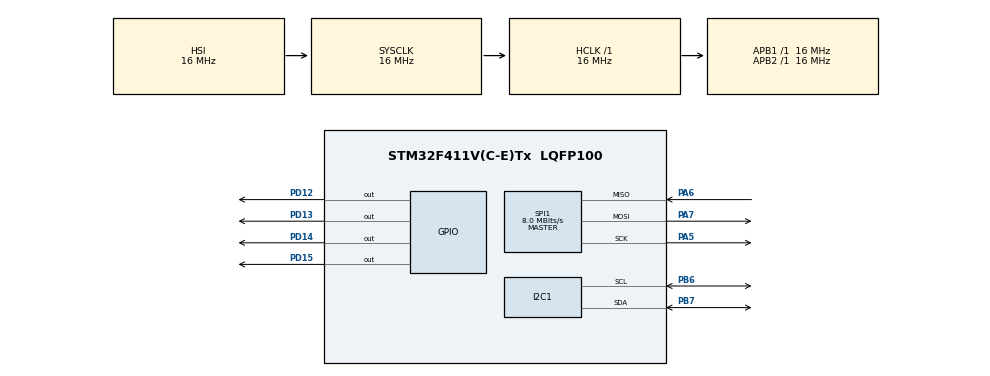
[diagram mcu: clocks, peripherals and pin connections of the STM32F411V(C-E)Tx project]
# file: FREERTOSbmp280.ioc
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FREERTOS.Tasks01=defaultTask,0,128,StartDefaultTask,Default,NULL
Mcu.Family=STM32F4
Mcu.Name=STM32F411V(C-E)Tx
Mcu.Package=LQFP100
NVIC.PriorityGroup=NVIC_PRIORITYGROUP_4
NVIC.TIM3_IRQn=true\:0\:0\:false\:false\:true\:false\:false
NVIC.TimeBase=TIM3_IRQn
NVIC.TimeBaseIP=TIM3
PA5.Mode=Full_Duplex_Master
PA5.Signal=SPI1_SCK
PA6.Mode=Full_Duplex_Master
PA6.Signal=SPI1_MISO
PA7.Mode=Full_Duplex_Master
PA7.Signal=SPI1_MOSI
PB6.Mode=I2C
PB6.Signal=I2C1_SCL
PB7.Mode=I2C
PB7.Signal=I2C1_SDA
PD12.Signal=GPIO_Output
PD13.Signal=GPIO_Output
PD14.Signal=GPIO_Output
PD15.Signal=GPIO_Output
ProjectManager.HeapSize=0x200
ProjectManager.StackSize=0x400
ProjectManager.TargetToolchain=MDK-ARM V5
RCC.AHBFreq_Value=16000000
RCC.APB1Freq_Value=16000000
RCC.APB2Freq_Value=16000000
RCC.CortexFreq_Value=16000000
RCC.HSE_VALUE=25000000
RCC.HSI_VALUE=16000000
RCC.LSE_VALUE=32768
RCC.SYSCLKFreq_VALUE=16000000
RCC.VCOOutputFreq_Value=192000000
SPI1.CalculateBaudRate=8.0 MBits/s
SPI1.Direction=SPI_DIRECTION_2LINES
SPI1.Mode=SPI_MODE_MASTER
SPI1.VirtualType=VM_MASTER
VP_FREERTOS_VS_ENABLE.Mode=Enabled
VP_SYS_VS_tim3.Mode=TIM3
board=custom

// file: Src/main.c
/* USER CODE BEGIN Header */
/**
  ******************************************************************************
  * @file           : main.c
  * @brief          : Main program body
  ******************************************************************************
  * This notice applies to any and all portions of this file
  * that are not between comment pairs USER CODE BEGIN and
  * USER CODE END. Other portions of this file, whether
  * inserted by the user or by software development tools
  * are owned by their respective copyright owners.
  *
  * Copyright (c) 2019 STMicroelectronics International N.V.
  * All rights reserved.
  *
  * Redistribution and use in source and binary forms, with or without
  * modification, are permitted, provided that the following conditions are met:
  *
  * 1. Redistribution of source code must retain the above copyright notice,
  *    this list of conditions and the following disclaimer.
  * 2. Redistributions in binary form must reproduce the above copyright notice,
  *    this list of conditions and the following disclaimer in the documentation
  *    and/or other materials provided with the distribution.
  * 3. Neither the name of STMicroelectronics nor the names of other
  *    contributors to this software may be used to endorse or promote products
  *    derived from this software without specific written permission.
  * 4. This software, including modifications and/or derivative works of this
  *    software, must execute solely and exclusively on microcontroller or
  *    microprocessor devices manufactured by or for STMicroelectronics.
  * 5. Redistribution and use of this software other than as permitted under
  *    this license is void and will automatically terminate your rights under
  *    this license.
  *
  * THIS SOFTWARE IS PROVIDED BY STMICROELECTRONICS AND CONTRIBUTORS "AS IS"
  * AND ANY EXPRESS, IMPLIED OR STATUTORY WARRANTIES, INCLUDING, BUT NOT
  * LIMITED TO, THE IMPLIED WARRANTIES OF MERCHANTABILITY, FITNESS FOR A
  * PARTICULAR PURPOSE AND NON-INFRINGEMENT OF THIRD PARTY INTELLECTUAL PROPERTY
  * RIGHTS ARE DISCLAIMED TO THE FULLEST EXTENT PERMITTED BY LAW. IN NO EVENT
  * SHALL STMICROELECTRONICS OR CONTRIBUTORS BE LIABLE FOR ANY DIRECT, INDIRECT,
  * INCIDENTAL, SPECIAL, EXEMPLARY, OR CONSEQUENTIAL DAMAGES (INCLUDING, BUT NOT
  * LIMITED TO, PROCUREMENT OF SUBSTITUTE GOODS OR SERVICES; LOSS OF USE, DATA,
  * OR PROFITS; OR BUSINESS INTERRUPTION) HOWEVER CAUSED AND ON ANY THEORY OF
  * LIABILITY, WHETHER IN CONTRACT, STRICT LIABILITY, OR TORT (INCLUDING
  * NEGLIGENCE OR OTHERWISE) ARISING IN ANY WAY OUT OF THE USE OF THIS SOFTWARE,
  * EVEN IF ADVISED OF THE POSSIBILITY OF SUCH DAMAGE.
  *
  ******************************************************************************
  */
/* USER CODE END Header */

#include "main.h"
#include "cmsis_os.h"

/* USER CODE BEGIN Includes */
#include "bmp280.h"
#include <stdio.h>
#include <math.h>
#include <stdlib.h>
/* USER CODE END Includes */

/* USER CODE BEGIN PD */
void getAltitude();
/* USER CODE END PD */

I2C_HandleTypeDef hi2c1;

SPI_HandleTypeDef hspi1;

osThreadId defaultTaskHandle;
/* USER CODE BEGIN PV */
BMP280_HandleTypedef bmp280;

const float SEA_LEVEL_PRESSURE = 1013.23f;
float pressure, temperature, humidity, altitude, pressure_hpa;
float pressure_array[10],averageP=0,SumPressure,averagePinit=0;
float rawP[10],rawPinit[10];
float rawPdata,rawPdatainit;
float initFloor, refFloor = 1010.73 , currentFloor;
static char status[5];
float relative;
uint16_t size;
uint8_t Data[256];
int initPressure,countinit;

/* USER CODE END PV */

void SystemClock_Config(void);
static void MX_GPIO_Init(void);
static void MX_I2C1_Init(void);
static void MX_SPI1_Init(void);
void StartDefaultTask(void const * argument);

int main(void)
{

  /* MCU Configuration--------------------------------------------------------*/

  /* Reset of all peripherals, Initializes the Flash interface and the Systick. */
  HAL_Init();

  /* Configure the system clock */
  SystemClock_Config();

  /* Initialize all configured peripherals */
  MX_GPIO_Init();
  MX_I2C1_Init();
  MX_SPI1_Init();
  /* USER CODE BEGIN 2 */

	//HAL_UART_Transmit(&huart1, Data, size, 1000);

  /* USER CODE END 2 */

  /* Create the thread(s) */
  /* definition and creation of defaultTask */
  osThreadDef(defaultTask, StartDefaultTask, osPriorityNormal, 0, 128);
  defaultTaskHandle = osThreadCreate(osThread(defaultTask), NULL);

  /* Start scheduler */
  osKernelStart();

  /* We should never get here as control is now taken by the scheduler */

  /* Infinite loop */
  while (1)
  {

    /* USER CODE BEGIN 3 */

//		HAL_Delay(100);
//
//		while (!bmp280_read_float(&bmp280, &temperature, &pressure, &humidity)) {
//			size = sprintf((char *)Data,
//					"Temperature/pressure reading failed\n");
//		//	HAL_UART_Transmit(&huart1, Data, size, 1000);
//			HAL_Delay(2000);
//		}

//		size = sprintf((char *)Data,"Pressure: %.2f Pa, Temperature: %.2f C",
//				pressure, temperature);
//
//		pressure_hpa = pressure/100 ;
//
//		// Calculate the altitude in metres
//
//		/*1 previous formula*/
//		//altitude = fabs((287.053*(logf((pressure)/101325))*(temperature+273.15))/9.8);
//
//		/*2 */
//		//altitude = ((float)powf(SEA_LEVEL_PRESSURE / pressure*100, 0.190223f) - 1.0f) * (temperature + 273.15f) / 0.0065f;
//
//		/*3 */
//		//altitude = (44330.0 * (1.0 - powf(pressure / 101325.0,1 / 5.255)));
//
//		/*4 */
//		//altitude = (1 - pow(pressure/(float)101325, 0.1903)) / 0.0000225577;

//

//		//HAL_UART_Transmit(&huart1, Data, size, 1000);
//		if (bme280p) {
//			size = sprintf((char *)Data,", Humidity: %.2f\n", humidity);
//		//	HAL_UART_Transmit(&huart1, Data, size, 1000);
//		}

//		else {
//			size = sprintf((char *)Data, "\n");
//			//HAL_UART_Transmit(&huart1, Data, size, 1000);
//		}
//		HAL_Delay(2000);
  }
  /* USER CODE END 3 */
}

void SystemClock_Config(void)
{
  RCC_OscInitTypeDef RCC_OscInitStruct = {0};
  RCC_ClkInitTypeDef RCC_ClkInitStruct = {0};

  /**Configure the main internal regulator output voltage
  */
  __HAL_RCC_PWR_CLK_ENABLE();
  __HAL_PWR_VOLTAGESCALING_CONFIG(PWR_REGULATOR_VOLTAGE_SCALE1);
  /**Initializes the CPU, AHB and APB busses clocks
  */
  RCC_OscInitStruct.OscillatorType = RCC_OSCILLATORTYPE_HSI;
  RCC_OscInitStruct.HSIState = RCC_HSI_ON;
  RCC_OscInitStruct.HSICalibrationValue = RCC_HSICALIBRATION_DEFAULT;
  RCC_OscInitStruct.PLL.PLLState = RCC_PLL_NONE;
  if (HAL_RCC_OscConfig(&RCC_OscInitStruct) != HAL_OK)
  {
    Error_Handler();
  }
  /**Initializes the CPU, AHB and APB busses clocks
  */
  RCC_ClkInitStruct.ClockType = RCC_CLOCKTYPE_HCLK|RCC_CLOCKTYPE_SYSCLK
                              |RCC_CLOCKTYPE_PCLK1|RCC_CLOCKTYPE_PCLK2;
  RCC_ClkInitStruct.SYSCLKSource = RCC_SYSCLKSOURCE_HSI;
  RCC_ClkInitStruct.AHBCLKDivider = RCC_SYSCLK_DIV1;
  RCC_ClkInitStruct.APB1CLKDivider = RCC_HCLK_DIV1;
  RCC_ClkInitStruct.APB2CLKDivider = RCC_HCLK_DIV1;

  if (HAL_RCC_ClockConfig(&RCC_ClkInitStruct, FLASH_LATENCY_0) != HAL_OK)
  {
    Error_Handler();
  }
}

static void MX_I2C1_Init(void)
{

  hi2c1.Instance = I2C1;
  hi2c1.Init.ClockSpeed = 100000;
  hi2c1.Init.DutyCycle = I2C_DUTYCYCLE_2;
  hi2c1.Init.OwnAddress1 = 0;
  hi2c1.Init.AddressingMode = I2C_ADDRESSINGMODE_7BIT;
  hi2c1.Init.DualAddressMode = I2C_DUALADDRESS_DISABLE;
  hi2c1.Init.OwnAddress2 = 0;
  hi2c1.Init.GeneralCallMode = I2C_GENERALCALL_DISABLE;
  hi2c1.Init.NoStretchMode = I2C_NOSTRETCH_DISABLE;
  if (HAL_I2C_Init(&hi2c1) != HAL_OK)
  {
    Error_Handler();
  }

}

static void MX_SPI1_Init(void)
{

  /* SPI1 parameter configuration*/
  hspi1.Instance = SPI1;
  hspi1.Init.Mode = SPI_MODE_MASTER;
  hspi1.Init.Direction = SPI_DIRECTION_2LINES;
  hspi1.Init.DataSize = SPI_DATASIZE_8BIT;
  hspi1.Init.CLKPolarity = SPI_POLARITY_LOW;
  hspi1.Init.CLKPhase = SPI_PHASE_1EDGE;
  hspi1.Init.NSS = SPI_NSS_SOFT;
  hspi1.Init.BaudRatePrescaler = SPI_BAUDRATEPRESCALER_2;
  hspi1.Init.FirstBit = SPI_FIRSTBIT_MSB;
  hspi1.Init.TIMode = SPI_TIMODE_DISABLE;
  hspi1.Init.CRCCalculation = SPI_CRCCALCULATION_DISABLE;
  hspi1.Init.CRCPolynomial = 10;
  if (HAL_SPI_Init(&hspi1) != HAL_OK)
  {
    Error_Handler();
  }

}

static void MX_GPIO_Init(void)
{
  GPIO_InitTypeDef GPIO_InitStruct = {0};

  /* GPIO Ports Clock Enable */
  __HAL_RCC_GPIOA_CLK_ENABLE();
  __HAL_RCC_GPIOD_CLK_ENABLE();
  __HAL_RCC_GPIOB_CLK_ENABLE();

  /*Configure GPIO pin Output Level */
  HAL_GPIO_WritePin(GPIOD, GPIO_PIN_12|GPIO_PIN_13|GPIO_PIN_14|GPIO_PIN_15, GPIO_PIN_RESET);

  /*Configure GPIO pins : PD12 PD13 PD14 PD15 */
  GPIO_InitStruct.Pin = GPIO_PIN_12|GPIO_PIN_13|GPIO_PIN_14|GPIO_PIN_15;
  GPIO_InitStruct.Mode = GPIO_MODE_OUTPUT_PP;
  GPIO_InitStruct.Pull = GPIO_NOPULL;
  GPIO_InitStruct.Speed = GPIO_SPEED_FREQ_LOW;
  HAL_GPIO_Init(GPIOD, &GPIO_InitStruct);

}

void StartDefaultTask(void const * argument)
{

  /* USER CODE BEGIN 5 */
	initPressure=0;
		bmp280_init_default_params(&bmp280.params);
	bmp280.addr = BMP280_I2C_ADDRESS_0;
	bmp280.i2c = &hi2c1;
bool bme280p = bmp280.id == BME280_CHIP_ID;
	int count=0;

	while (!bmp280_init(&bmp280, &bmp280.params)) {
		size = sprintf((char *)Data, "BMP280 initialization failed\n");
		//HAL_UART_Transmit(&huart1, Data, size, 1000);
		HAL_Delay(2000);
	}

	size = sprintf((char *)Data, "BMP280: found %s\n", bme280p ? "BME280" : "BMP280");
		while (!bmp280_read_float(&bmp280, &temperature, &pressure, &humidity)) {
			size = sprintf((char *)Data,
					"Temperature/pressure reading failed\n");
		//	HAL_UART_Transmit(&huart1, Data, size, 1000);
			osDelay(2000);
		}

		size = sprintf((char *)Data,"Pressure: %.2f Pa, Temperature: %.2f C",
				pressure, temperature);

		pressure_hpa = pressure/100 ;
		osDelay(10000);

  /* Infinite loop */
  for(;;)
  {

				//HAL_Delay(100);
		if (initPressure !=0)
		{
		while (!bmp280_read_float(&bmp280, &temperature, &pressure, &humidity)) {
			size = sprintf((char *)Data,
					"Temperature/pressure reading failed\n");
		//	HAL_UART_Transmit(&huart1, Data, size, 1000);
			HAL_Delay(2000);
		}

		size = sprintf((char *)Data,"Pressure: %.2f Pa, Temperature: %.2f C",
				pressure, temperature);

		pressure_hpa = pressure/100 ;

//		if (count<=10)
//		{
//
//			pressure_array[count]=pressure_hpa;
//			count++;
//
//		}
//		else
//		{count=0;}

		// subtract the last reading:
			rawPdata = rawPdata - rawP[count];
		// read from the sensor:
			rawP[count] = pressure_hpa;
		// add the reading to the total:
			rawPdata = rawPdata + rawP[count];
			count++;

			if(count>=10)
			{
				averageP = rawPdata / 10.0;
				count = 0;
				currentFloor = averageP;
			//	relative=currentFloor-initFloor;
			}

		//	currentFloor = rawP[0];
			//refFloor= 1009.70
			//
			if( abs(relative)<0.07)
			{
				sprintf(status,"zero");
				pressure_hpa = 0;
				//vTaskDelay(1); //1ms delay
			//	initPressure=0; //recalibrate
			}

			else if (relative >= 0.8)
			{
					//going down, perbezaan +ve
				 sprintf(status,"down");
			}

			else if(relative < 0.8)
			{
					//going up, prebezaan -ve
					sprintf(status,"up");
			}

		//1== 1011.10, 1nhalf ==

		// Calculate the altitude in metres

		/*1 previous formula*/
		//altitude = fabs((287.053*(logf((pressure)/101325))*(temperature+273.15))/9.8);

		/*2 */
		//altitude = ((float)powf(SEA_LEVEL_PRESSURE / pressure*100, 0.190223f) - 1.0f) * (temperature + 273.15f) / 0.0065f;

		/*3 */
		//altitude = (44330.0 * (1.0 - powf(pressure / 101325.0,1 / 5.255)));

		/*4 */
		//altitude = (1 - pow(pressure/(float)101325, 0.1903)) / 0.0000225577;

		//HAL_UART_Transmit(&huart1, Data, size, 1000);
		if (bme280p) {
			size = sprintf((char *)Data,", Humidity: %.2f\n", humidity);
		//	HAL_UART_Transmit(&huart1, Data, size, 1000);
		}

		else {
			size = sprintf((char *)Data, "\n");
			//HAL_UART_Transmit(&huart1, Data, size, 1000);
		}
		//HAL_Delay(2000);

	}
		else
		{
			while (!bmp280_read_float(&bmp280, &temperature, &pressure, &humidity)) {
			size = sprintf((char *)Data,
					"Temperature/pressure reading failed\n");
		//	HAL_UART_Transmit(&huart1, Data, size, 1000);
			HAL_Delay(2000);
		}

		size = sprintf((char *)Data,"Pressure: %.2f Pa, Temperature: %.2f C",
				pressure, temperature);

		pressure_hpa = pressure/100 ;

		// subtract the last reading:
			rawPdatainit = rawPdatainit - rawPinit[countinit];
		// read from the sensor:
			rawPinit[countinit] = pressure_hpa;
		// add the reading to the total:
			rawPdatainit = rawPdatainit + rawPinit[countinit];
			countinit++;

			if(countinit>=10)
			{
				averagePinit = rawPdatainit / 10.0;
				countinit = 0;
				initFloor = averagePinit;
				initPressure=1;
			}

		}
		relative=currentFloor-initFloor;
		  osDelay(100);

  }
  /* USER CODE END 5 */
}

void HAL_TIM_PeriodElapsedCallback(TIM_HandleTypeDef *htim)
{
  if (htim->Instance == TIM3) {
    HAL_IncTick();
  }
}

void Error_Handler(void)
{
}

/************************ (C) COPYRIGHT STMicroelectronics *****END OF FILE****/
